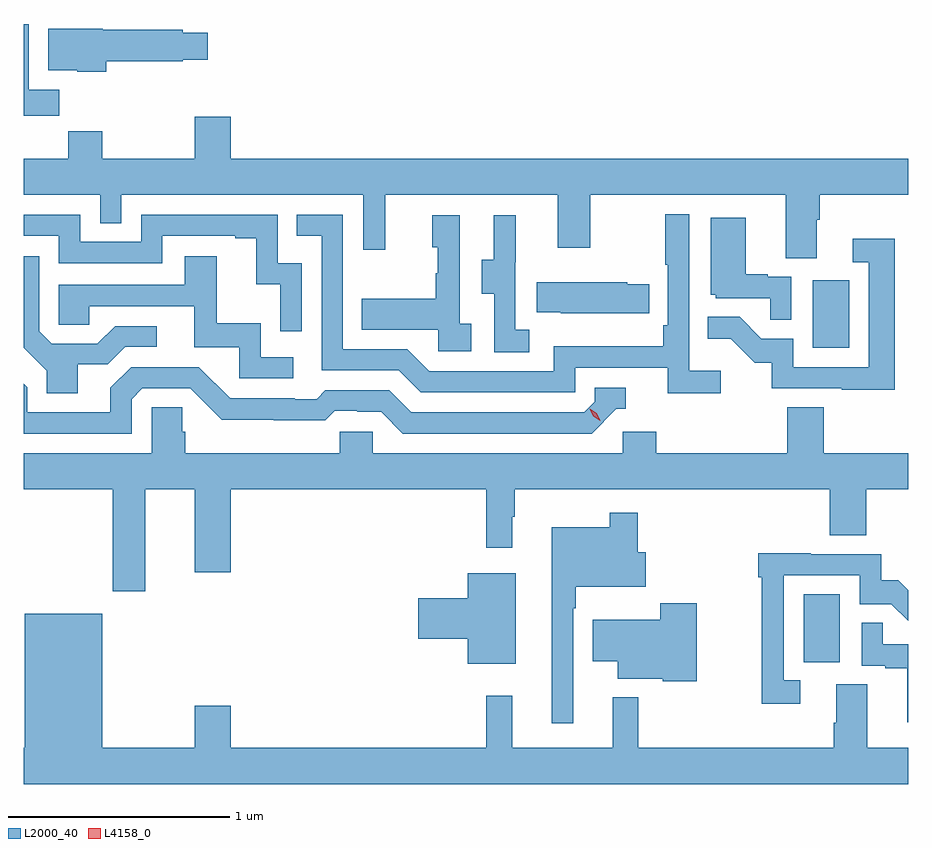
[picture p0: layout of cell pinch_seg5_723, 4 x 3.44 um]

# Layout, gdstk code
import gdstk
lib = gdstk.Library(unit=1e-6, precision=1e-09)
def R(c, l, rs):  # rectangles x0, y0, x1, y1
    for r in rs: c.add(gdstk.rectangle(r[:2], r[2:], *l))
def P(c, l, *ps):  # polygons
    for p in ps: c.add(gdstk.Polygon(p, *l))
L2000_40 = (2000, 40)
L4158_0 = (4158, 0)

pinch_seg5_723 = lib.new_cell('pinch_seg5_723')
R(pinch_seg5_723, L2000_40, [(1114.814,835.998,1114.978,836.305), (1114.856,837.42,1115.02,837.727)])
P(pinch_seg5_723, L2000_40, [(1111.448,838.588),(1111.309,838.588),(1111.309,838.885),(1111.287,838.885),(1111.287,838.47),(1111.448,838.47)],
  [(1111.661,838.717),(1112.006,838.717),(1112.006,838.724),(1112.119,838.724),(1112.119,838.846),(1112.006,838.846),(1112.006,838.859),(1111.644,838.859),(1111.644,838.864),(1111.397,838.864),(1111.397,838.676),(1111.53,838.676),(1111.53,838.67),(1111.661,838.67)],
  [(1114.873,838),(1114.886,838),(1114.886,838.112),(1115.287,838.112),(1115.287,838.276),(1112.224,838.276),(1112.224,838.465),(1112.06,838.465),(1112.06,838.276),(1111.641,838.276),(1111.641,838.4),(1111.489,838.4),(1111.489,838.276),(1111.287,838.276),(1111.287,838.112),(1111.632,838.112),(1111.632,837.985),(1111.728,837.985),(1111.728,838.112),(1112.823,838.112),(1112.823,837.864),(1112.921,837.864),(1112.921,838.112),(1113.701,838.112),(1113.701,837.873),(1113.849,837.873),(1113.849,838.112),(1114.733,838.112),(1114.733,837.826),(1114.873,837.826)],
  [(1114.438,837.316),(1114.296,837.316),(1114.296,838.024),(1114.188,838.024),(1114.188,837.796),(1114.2,837.796),(1114.2,837.523),(1114.18,837.523),(1114.18,837.427),(1113.684,837.427),(1113.684,837.315),(1113.12,837.315),(1113.021,837.414),(1112.73,837.414),(1112.73,838.023),(1112.521,838.023),(1112.521,837.927),(1112.634,837.927),(1112.634,837.318),(1112.984,837.318),(1113.083,837.219),(1113.78,837.219),(1113.78,837.33),(1114.199,837.33),(1114.199,837.214),(1114.438,837.214)],
  [(1112.544,837.804),(1112.436,837.804),(1112.436,838.023),(1111.818,838.023),(1111.818,837.9),(1111.542,837.9),(1111.542,838.023),(1111.287,838.023),(1111.287,837.927),(1111.446,837.927),(1111.446,837.804),(1111.914,837.804),(1111.914,837.927),(1112.243,837.927),(1112.243,837.915),(1112.339,837.915),(1112.339,837.707),(1112.448,837.707),(1112.448,837.495),(1112.544,837.495)],
  [(1113.31,837.53),(1113.258,837.53),(1113.258,838.021),(1113.134,838.021),(1113.134,837.876),(1113.16,837.876),(1113.16,837.758),(1113.15,837.758),(1113.15,837.643),(1112.815,837.643),(1112.815,837.503),(1113.162,837.503),(1113.162,837.405),(1113.31,837.405)],
  [(1113.574,837.503),(1113.51,837.503),(1113.51,837.807),(1113.512,837.807),(1113.512,838.021),(1113.413,838.021),(1113.413,837.819),(1113.359,837.819),(1113.359,837.664),(1113.414,837.664),(1113.414,837.4),(1113.574,837.4)],
  [(1114.758,837.741),(1114.652,837.741),(1114.652,837.754),(1114.552,837.754),(1114.552,838.009),(1114.394,838.009),(1114.394,837.66),(1114.416,837.66),(1114.416,837.645),(1114.663,837.645),(1114.663,837.547),(1114.758,837.547)],
  [(1115.225,837.913),(1115.037,837.913),(1115.037,837.807),(1115.109,837.807),(1115.109,837.333),(1114.767,837.333),(1114.767,837.462),(1114.623,837.462),(1114.525,837.56),(1114.381,837.56),(1114.381,837.461),(1114.485,837.461),(1114.592,837.354),(1114.669,837.354),(1114.669,837.237),(1114.987,837.237),(1114.987,837.232),(1115.225,837.232)],
  [(1111.531,837.346),(1111.666,837.346),(1111.746,837.426),(1111.888,837.426),(1111.888,837.519),(1111.7,837.519),(1111.619,837.438),(1111.413,837.438),(1111.356,837.495),(1111.356,837.835),(1111.287,837.835),(1111.287,837.42),(1111.391,837.316),(1111.391,837.214),(1111.531,837.214)],
  [(1112.506,837.378),(1112.358,837.378),(1112.358,837.532),(1112.159,837.532),(1112.159,837.835),(1112.015,837.835),(1112.015,837.705),(1111.446,837.705),(1111.446,837.525),(1111.583,837.525),(1111.583,837.609),(1112.057,837.609),(1112.057,837.423),(1112.262,837.423),(1112.262,837.282),(1112.506,837.282)],
  [(1114.115,837.708),(1114.017,837.708),(1114.017,837.718),(1113.607,837.718),(1113.607,837.581),(1113.715,837.581),(1113.715,837.578),(1114.115,837.578)],
  [(1111.776,837.189),(1111.824,837.237),(1112.04,837.237),(1112.182,837.095),(1112.418,837.095),(1112.418,837.093),(1112.651,837.093),(1112.693,837.135),(1112.796,837.135),(1112.796,837.132),(1112.903,837.132),(1113.002,837.033),(1113.855,837.033),(1113.966,837.144),(1114.009,837.144),(1114.009,837.24),(1113.87,837.24),(1113.87,837.177),(1113.822,837.129),(1113.039,837.129),(1112.94,837.228),(1112.651,837.228),(1112.612,837.189),(1112.513,837.189),(1112.513,837.192),(1112.22,837.192),(1112.079,837.333),(1111.773,837.333),(1111.679,837.239),(1111.679,837.129),(1111.302,837.129),(1111.302,837.243),(1111.287,837.258),(1111.287,837.033),(1111.776,837.033)],
  [(1111.837,836.78),(1112.06,836.78),(1112.06,836.406),(1112.224,836.406),(1112.224,836.78),(1113.379,836.78),(1113.379,836.517),(1113.496,836.517),(1113.496,836.657),(1113.508,836.657),(1113.508,836.78),(1114.931,836.78),(1114.931,836.572),(1115.096,836.572),(1115.096,836.78),(1115.287,836.78),(1115.287,836.944),(1114.904,836.944),(1114.904,837.152),(1114.739,837.152),(1114.739,836.944),(1114.148,836.944),(1114.148,837.042),(1113.996,837.042),(1113.996,836.944),(1112.865,836.944),(1112.865,837.042),(1112.715,837.042),(1112.715,836.944),(1112.018,836.944),(1112.018,837.042),(1112.003,837.042),(1112.003,837.152),(1111.866,837.152),(1111.866,836.944),(1111.287,836.944),(1111.287,836.78),(1111.69,836.78),(1111.69,836.319),(1111.837,836.319)],
  [(1113.771,836.243),(1113.784,836.243),(1113.784,836.339),(1114.099,836.339),(1114.099,836.497),(1114.064,836.497),(1114.064,836.674),(1113.936,836.674),(1113.936,836.608),(1113.674,836.608),(1113.674,835.722),(1113.771,835.722)],
  [(1114.798,835.917),(1114.725,835.917),(1114.725,836.391),(1115.067,836.391),(1115.067,836.262),(1115.211,836.262),(1115.287,836.186),(1115.287,836.325),(1115.242,836.37),(1115.166,836.37),(1115.166,836.487),(1114.847,836.487),(1114.847,836.492),(1114.609,836.492),(1114.609,836.384),(1114.624,836.384),(1114.624,835.812),(1114.798,835.812)],
  [(1113.511,836.401),(1113.296,836.401),(1113.296,836.288),(1113.072,836.288),(1113.072,836.105),(1113.296,836.105),(1113.296,835.991),(1113.511,835.991)],
  [(1114.33,836.266),(1114.165,836.266),(1114.165,836.191),(1113.86,836.191),(1113.86,836.003),(1113.974,836.003),(1113.974,835.925),(1114.176,835.925),(1114.176,835.913),(1114.33,835.913)],
  [(1115.287,835.612),(1115.101,835.612),(1115.101,835.898),(1114.961,835.898),(1114.961,835.724),(1114.949,835.724),(1114.949,835.612),(1114.067,835.612),(1114.067,835.84),(1113.95,835.84),(1113.95,835.612),(1113.497,835.612),(1113.497,835.846),(1113.379,835.846),(1113.379,835.612),(1112.224,835.612),(1112.224,835.801),(1112.06,835.801),(1112.06,835.612),(1111.642,835.612),(1111.642,836.218),(1111.292,836.218),(1111.292,835.612),(1111.287,835.612),(1111.287,835.448),(1115.287,835.448)],
  [(1115.287,836.079),(1115.171,836.079),(1115.171,836.177),(1115.076,836.177),(1115.076,835.983),(1115.183,835.983),(1115.183,835.971),(1115.282,835.971),(1115.282,835.728),(1115.287,835.728)])
P(pinch_seg5_723, L4158_0, [(1113.894,837.091),(1113.863,837.111),(1113.846,837.144),(1113.846,837.144),(1113.847,837.144),(1113.878,837.124),(1113.894,837.092),(1113.894,837.091)])

lib.write_gds('pinch_seg5_723.gds')
